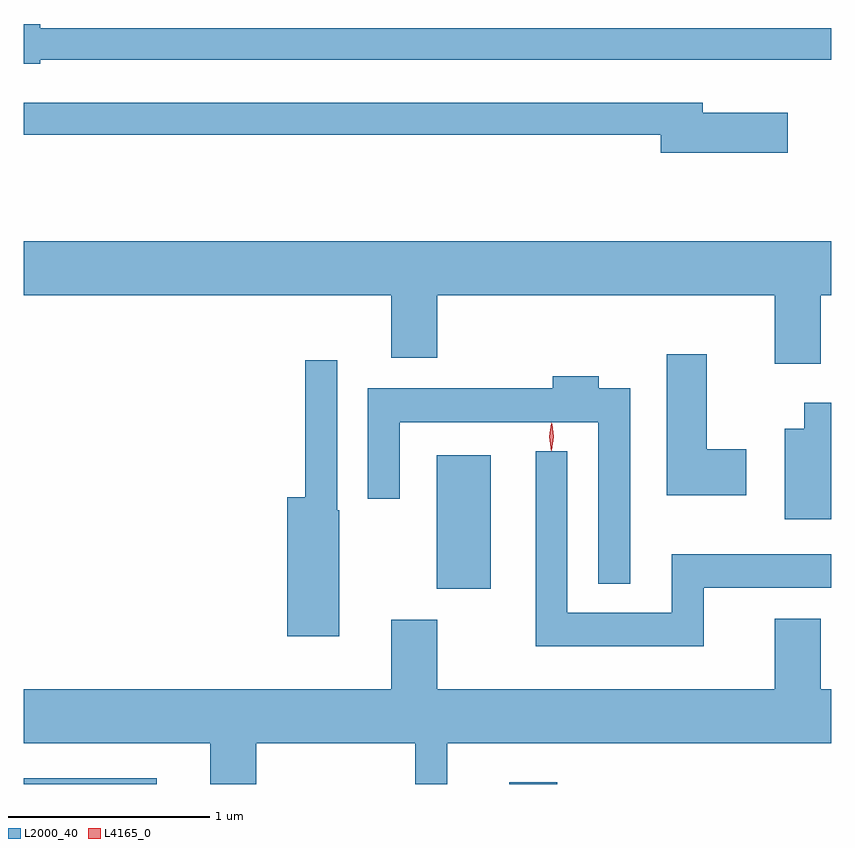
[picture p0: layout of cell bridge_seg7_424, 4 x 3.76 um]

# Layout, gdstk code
import gdstk
lib = gdstk.Library(unit=1e-6, precision=1e-09)
def R(c, l, rs):  # rectangles x0, y0, x1, y1
    for r in rs: c.add(gdstk.rectangle(r[:2], r[2:], *l))
def P(c, l, *ps):  # polygons
    for p in ps: c.add(gdstk.Polygon(p, *l))
L2000_40 = (2000, 40)
L4165_0 = (4165, 0)

bridge_seg7_424 = lib.new_cell('bridge_seg7_424')
R(bridge_seg7_424, L2000_40, [(1164.861,1691.915,1165.519,1691.944), (1167.266,1691.915,1167.504,1691.924), (1166.906,1692.881,1167.174,1693.544)])
P(bridge_seg7_424, L2000_40, [(1164.944,1695.501),(1168.861,1695.501),(1168.861,1695.659),(1164.944,1695.659),(1164.944,1695.679),(1164.861,1695.679),(1164.861,1695.481),(1164.944,1695.481)],
  [(1168.644,1695.239),(1168.224,1695.239),(1168.224,1695.289),(1164.861,1695.289),(1164.861,1695.131),(1168.016,1695.131),(1168.016,1695.041),(1168.644,1695.041)],
  [(1168.809,1694.336),(1168.861,1694.336),(1168.861,1694.604),(1164.861,1694.604),(1164.861,1694.336),(1166.681,1694.336),(1166.681,1694.026),(1166.909,1694.026),(1166.909,1694.336),(1168.581,1694.336),(1168.581,1693.996),(1168.809,1693.996)],
  [(1168.439,1693.574),(1168.244,1693.574),(1168.244,1694.044),(1168.046,1694.044),(1168.046,1693.346),(1168.439,1693.346)],
  [(1166.424,1693.27),(1166.414,1693.27),(1166.414,1694.013),(1166.256,1694.013),(1166.256,1693.334),(1166.166,1693.334),(1166.166,1692.646),(1166.424,1692.646)],
  [(1167.864,1693.874),(1167.709,1693.874),(1167.709,1693.934),(1167.481,1693.934),(1167.481,1693.874),(1166.566,1693.874),(1166.566,1693.328),(1166.724,1693.328),(1166.724,1693.706),(1167.706,1693.706),(1167.706,1692.908),(1167.864,1692.908)],
  [(1168.861,1693.804),(1168.726,1693.804),(1168.726,1693.674),(1168.631,1693.674),(1168.631,1693.226),(1168.861,1693.226)],
  [(1168.229,1692.886),(1168.861,1692.886),(1168.861,1693.054),(1168.071,1693.054),(1168.071,1692.764),(1167.554,1692.764),(1167.554,1693.563),(1167.396,1693.563),(1167.396,1692.596),(1168.229,1692.596)],
  [(1166.014,1692.116),(1166.801,1692.116),(1166.801,1691.915),(1166.959,1691.915),(1166.959,1692.116),(1168.861,1692.116),(1168.861,1692.384),(1168.809,1692.384),(1168.809,1692.734),(1168.581,1692.734),(1168.581,1692.384),(1166.909,1692.384),(1166.909,1692.729),(1166.681,1692.729),(1166.681,1692.384),(1164.861,1692.384),(1164.861,1692.116),(1165.786,1692.116),(1165.786,1691.915),(1166.014,1691.915)])
P(bridge_seg7_424, L4165_0, [(1167.474,1693.564),(1167.465,1693.634),(1167.474,1693.702),(1167.475,1693.703),(1167.475,1693.702),(1167.485,1693.634),(1167.475,1693.564),(1167.475,1693.564)],
  [(1167.477,1693.567),(1167.476,1693.568),(1167.467,1693.634),(1167.477,1693.7),(1167.477,1693.7),(1167.478,1693.7),(1167.487,1693.634),(1167.477,1693.568)])

lib.write_gds('bridge_seg7_424.gds')
